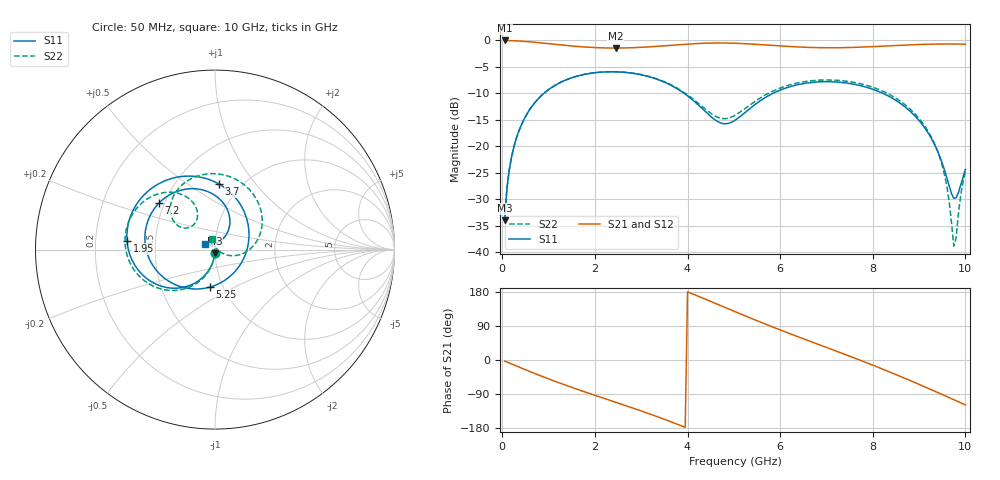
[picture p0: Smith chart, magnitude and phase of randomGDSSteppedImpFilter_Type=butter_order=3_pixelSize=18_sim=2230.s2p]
! freq	dB(S11)	phase(S11)	dB(S12)	phase(S12)
!  dB(S21)	phase(S21)	dB(S22)	phase(S22)
!S-par simulation data
#  GHz  S  DB  R 50
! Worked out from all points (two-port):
!   200 points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, 50 MHz to 10 GHz, reference 50 ohm
!   highest |S21| = -0.01 dB at 50 MHz (marker M1); lowest = -1.4 dB at 2.45 GHz (marker M2)
!   |S21| within 3 dB of the highest: start of sweep to end of sweep
!   lowest |S11| = -33.9 dB at 50 MHz (marker M3), VSWR 1.04, Z = 49.9 - j2.01 ohm
!   |S11| at or under -10 dB: start of sweep to 896.7 MHz; 3.929 GHz to 5.842 GHz (1.913 GHz wide, 39.2 % of centre); 8.222 GHz to end of sweep
!   |S22| runs from -38.8 to -5.9 dB; largest |S21 - S12| = 0
!   S11 on the Smith chart (normalised r, x): 50 MHz: 1.00, -0.04; 1.95 GHz: 0.34, +0.04; 3.7 GHz: 0.80, +0.67; 5.25 GHz: 0.87, -0.38; 7.2 GHz: 0.47, +0.29; 10 GHz: 0.90, +0.05
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0.05  -33.91 -92.8  -0.01 -2.6  -0.01 -2.6  -33.92 -92.6
0.1  -27.92 -95.6  -0.02 -5.2  -0.02 -5.2  -27.92 -95.3
0.2  -21.99 -101.2  -0.04 -10.4  -0.04 -10.4  -21.97 -100.5
0.5  -14.37 -117.1  -0.20 -25.7  -0.20 -25.7  -14.37 -115.4
1.1  -8.68 -147.0  -0.70 -54.5  -0.70 -54.5  -8.68 -143.1
1.75  -6.45 -176.8  -1.22 -82.8  -1.22 -82.8  -6.45 -169.9
1.95  -6.15 174.3  -1.33 -91.1  -1.33 -91.1  -6.14 -177.6
2.45  -5.93 152.0  -1.44 -111.6  -1.44 -111.6  -5.91 164.0
3.4  -7.51 104.7  -1.08 -151.9  -1.08 -151.9  -7.46 131.3
3.7  -8.73 86.4  -0.88 -165.7  -0.88 -165.7  -8.64 122.5
4.35  -13.13 31.7  -0.53 162.3  -0.53 162.3  -12.71 115.1
5.05  -14.92 -72.3  -0.54 126.4  -0.54 126.4  -14.01 142.9
5.25  -13.54 -97.4  -0.62 116.2  -0.62 116.2  -12.79 146.8
5.9  -9.76 -151.2  -0.98 84.2  -0.98 84.2  -9.34 136.9
6.7  -7.91 164.4  -1.34 46.9  -1.34 46.9  -7.59 108.0
7.2  -7.84 140.5  -1.38 24.1  -1.38 24.1  -7.51 86.9
7.8  -8.68 113.1  -1.25 -4.0  -1.25 -4.0  -8.32 59.4
8.35  -10.55 88.5  -1.02 -30.8  -1.02 -30.8  -10.16 32.1
9.35  -19.92 52.8  -0.69 -83.0  -0.69 -83.0  -19.82 -19.5
9.6  -25.95 61.9  -0.67 -96.5  -0.67 -96.5  -27.55 -25.6
9.75  -29.77 96.8  -0.68 -104.7  -0.68 -104.7  -38.82 23.0
10  -24.33 151.5  -0.71 -118.5  -0.71 -118.5  -24.66 105.4
